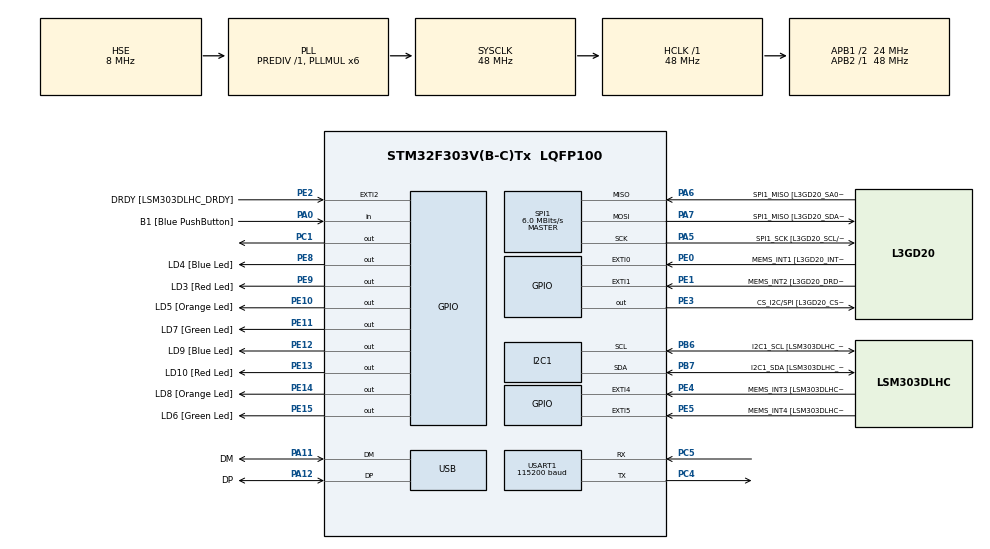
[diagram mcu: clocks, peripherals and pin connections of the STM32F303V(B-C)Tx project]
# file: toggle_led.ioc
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I2C1.Timing=0x00201D2B
I2C1.Timing-I2C=0x2000090E
Mcu.Family=STM32F3
Mcu.Name=STM32F303V(B-C)Tx
Mcu.Package=LQFP100
NVIC.PriorityGroup=NVIC_PRIORITYGROUP_0
NVIC.TIM2_IRQn=true\:0\:0\:false\:false\:true\:true\:true\:true
NVIC.USB_LP_CAN_RX0_IRQn=true\:0\:0\:false\:false\:true\:false\:true\:true
PA0.GPIO_Label=B1 [Blue PushButton]
PA0.Signal=GPIO_Input
PA11.GPIO_Label=DM
PA11.Mode=Device
PA11.Signal=USB_DM
PA12.GPIO_Label=DP
PA12.Mode=Device
PA12.Signal=USB_DP
PA13.GPIO_Label=SWDIO
PA13.Mode=Serial_Wire
PA13.Signal=SYS_JTMS-SWDIO
PA14.GPIO_Label=SWCLK
PA14.Mode=Serial_Wire
PA14.Signal=SYS_JTCK-SWCLK
PA5.GPIO_Label=SPI1_SCK [L3GD20_SCL/SPC]
PA5.Mode=Full_Duplex_Master
PA5.Signal=SPI1_SCK
PA6.GPIO_Label=SPI1_MISO [L3GD20_SA0/SDO]
PA6.Mode=Full_Duplex_Master
PA6.Signal=SPI1_MISO
PA7.GPIO_Label=SPI1_MISO [L3GD20_SDA/SDI/SDO]
PA7.Mode=Full_Duplex_Master
PA7.Signal=SPI1_MOSI
PB3.GPIO_Label=SWO
PB3.Signal=SYS_JTDO-TRACESWO
PB6.GPIO_Label=I2C1_SCL [LSM303DLHC_SCL]
PB6.GPIO_Pu=GPIO_PULLUP
PB6.Mode=I2C
PB6.Signal=I2C1_SCL
PB7.GPIO_Label=I2C1_SDA [LSM303DLHC_SDA]
PB7.GPIO_Pu=GPIO_PULLUP
PB7.Mode=I2C
PB7.Signal=I2C1_SDA
PC1.Signal=GPIO_Output
PC14-OSC32_IN.GPIO_Label=OSC32_IN
PC14-OSC32_IN.Signal=RCC_OSC32_IN
PC15-OSC32_OUT.GPIO_Label=OSC32_OUT
PC15-OSC32_OUT.Signal=RCC_OSC32_OUT
PC4.Mode=Asynchronous
PC4.Signal=USART1_TX
PC5.Mode=Asynchronous
PC5.Signal=USART1_RX
PE0.GPIO_Label=MEMS_INT1 [L3GD20_INT1]
PE0.GPIO_ModeDefaultEXTI=GPIO_MODE_EVT_RISING
PE0.Signal=GPXTI0
PE1.GPIO_Label=MEMS_INT2 [L3GD20_DRDY/INT2]
PE1.GPIO_ModeDefaultEXTI=GPIO_MODE_EVT_RISING
PE1.Signal=GPXTI1
PE10.GPIO_Label=LD5 [Orange Led]
PE10.Signal=GPIO_Output
PE11.GPIO_Label=LD7 [Green Led]
PE11.Signal=GPIO_Output
PE12.GPIO_Label=LD9 [Blue Led]
PE12.Signal=GPIO_Output
PE13.GPIO_Label=LD10 [Red Led]
PE13.Signal=GPIO_Output
PE14.GPIO_Label=LD8 [Orange Led]
PE14.Signal=GPIO_Output
PE15.GPIO_Label=LD6 [Green Led]
PE15.Signal=GPIO_Output
PE2.GPIO_Label=DRDY [LSM303DLHC_DRDY]
PE2.GPIO_ModeDefaultEXTI=GPIO_MODE_EVT_RISING
PE2.Signal=GPXTI2
PE3.GPIO_Label=CS_I2C/SPI [L3GD20_CS_I2C/SPI]
PE3.Signal=GPIO_Output
PE4.GPIO_Label=MEMS_INT3 [LSM303DLHC_INT1]
PE4.GPIO_ModeDefaultEXTI=GPIO_MODE_EVT_RISING
PE4.Signal=GPXTI4
PE5.GPIO_Label=MEMS_INT4 [LSM303DLHC_INT2]
PE5.GPIO_ModeDefaultEXTI=GPIO_MODE_EVT_RISING
PE5.Signal=GPXTI5
PE8.GPIO_Label=LD4 [Blue Led]
PE8.Signal=GPIO_Output
PE9.GPIO_Label=LD3 [Red Led]
PE9.Signal=GPIO_Output
PF0-OSC_IN.GPIO_Label=OSC_IN
PF0-OSC_IN.Mode=HSE-External-Clock-Source
PF0-OSC_IN.Signal=RCC_OSC_IN
PF1-OSC_OUT.GPIO_Label=OSC_OUT
PF1-OSC_OUT.Signal=RCC_OSC_OUT
ProjectManager.HeapSize=0x200
ProjectManager.StackSize=0x400
ProjectManager.TargetToolchain=CMake
RCC.AHBFreq_Value=48000000
RCC.APB1CLKDivider=RCC_HCLK_DIV2
RCC.APB1Freq_Value=24000000
RCC.APB1TimFreq_Value=48000000
RCC.APB2Freq_Value=48000000
RCC.APB2TimFreq_Value=48000000
RCC.CortexFreq_Value=48000000
RCC.HCLKFreq_Value=48000000
RCC.HSE_VALUE=8000000
RCC.HSI_VALUE=8000000
RCC.LSE_VALUE=32768
RCC.PLLMUL=RCC_PLL_MUL6
RCC.SYSCLKFreq_VALUE=48000000
RCC.SYSCLKSourceVirtual=RCC_SYSCLKSOURCE_PLLCLK
RCC.USBFreq_Value=48000000
SPI1.BaudRatePrescaler=SPI_BAUDRATEPRESCALER_8
SPI1.BaudRatePrescaler-Full_Duplex_Master=SPI_BAUDRATEPRESCALER_2
SPI1.CLKPhase=SPI_PHASE_2EDGE
SPI1.CLKPolarity=SPI_POLARITY_HIGH
SPI1.CalculateBaudRate=6.0 MBits/s
SPI1.CalculateBaudRate-Full_Duplex_Master=24.0 MBits/s
SPI1.Direction=SPI_DIRECTION_2LINES
SPI1.Mode=SPI_MODE_MASTER
SPI1.Mode-Full_Duplex_Master=SPI_MODE_MASTER
SPI1.VirtualType=VM_MASTER
TIM2.AutoReloadPreload=TIM_AUTORELOAD_PRELOAD_ENABLE
TIM2.Period=99
TIM2.Prescaler=72
USART1.BaudRate=115200
USART1.VirtualMode-Asynchronous=VM_ASYNC
USB_DEVICE.CLASS_NAME_FS=CDC
USB_DEVICE.VirtualMode=Cdc
USB_DEVICE.VirtualModeFS=Cdc_FS
VP_TIM2_VS_ClockSourceINT.Mode=Internal
VP_USB_DEVICE_VS_USB_DEVICE_CDC_FS.Mode=CDC_FS
board=STM32F3DISCOVERY

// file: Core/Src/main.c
/* USER CODE BEGIN Header */
/**
  ******************************************************************************
  * @file           : main.c
  * @brief          : Main program body
  ******************************************************************************
  * @attention
  *
  * Copyright (c) 2025 STMicroelectronics.
  * All rights reserved.
  *
  * This software is licensed under terms that can be found in the LICENSE file
  * in the root directory of this software component.
  * If no LICENSE file comes with this software, it is provided AS-IS.
  *
  ******************************************************************************
  */
/* USER CODE END Header */
#include "main.h"
#include <stdio.h>
#include <math.h>
#include <usb_device.h>
#ifndef M_PI
#define M_PI 3.14159265358979323846f
#endif

volatile float shared_angle = 0;
volatile uint8_t display_flag = 0;
volatile float shared_accAngleY = 0;
volatile float shared_gyroY = 0;

#define LSM303AGR_ACC_ADDR (0x19 << 1)
#define CTRL_REG1_A 0x20
#define CTRL_REG4_A 0x23
#define OUT_X_L_A 0x28

#define WHO_AM_I_G 0x0F
#define CTRL_REG1_G 0x20
#define CTRL_REG4_G 0x23
#define OUT_Y_L_G 0x2A
#define OUT_Y_H_G 0x2B

// ===== SPI CS Control =====
#define CS_LOW() HAL_GPIO_WritePin(GPIOE, GPIO_PIN_3, GPIO_PIN_RESET)
#define CS_HIGH() HAL_GPIO_WritePin(GPIOE, GPIO_PIN_3, GPIO_PIN_SET)

typedef struct
{
    int16_t raw_ax, raw_ay, raw_az;
    float ax, ay, az;
    float ax_offset, ay_offset, az_offset;
    int16_t raw_gx, raw_gy, raw_gz;
    float gx, gy, gz;
    float gy_offset;
} SensorData;

SensorData c;

/* USER CODE END PTD */
/* USER CODE BEGIN PD */
void Init_LSM(void);
void Init_Gyro(void);
void Read_Accel(SensorData *s, float apply_offset);
void Read_Gyro(SensorData *s);
void Calibrate_Gyro(SensorData *s);
void Offset_LSM(SensorData *data);
/* USER CODE END 0 */
float accAngleY = 0, gyroAngleX = 0, angleX = 0;
float dt = 0.1f;

/* USER CODE END PD */

I2C_HandleTypeDef hi2c1;
SPI_HandleTypeDef hspi1;
TIM_HandleTypeDef htim2;
UART_HandleTypeDef huart1;

/* USER CODE BEGIN PV */
int _write(int file, char *ptr, int len)
{
  HAL_UART_Transmit(&huart1, (uint8_t *)ptr, len, HAL_MAX_DELAY);
  return len;
}
/* USER CODE END PV */

void SystemClock_Config(void);
static void MX_GPIO_Init(void);
static void MX_I2C1_Init(void);
static void MX_SPI1_Init(void);
static void MX_TIM2_Init(void);
static void MX_USART1_UART_Init(void);

/* USER CODE BEGIN 0 */
// volatile uint8_t display_flag = 0;
volatile int ax_int, ay_int, az_int;

/* USER CODE END 0 */

extern float asinf(float);
extern double fabs(double);

int main(void)
{

  HAL_Init();

  SystemClock_Config();

  MX_GPIO_Init();
  MX_I2C1_Init();
  MX_SPI1_Init();
  MX_TIM2_Init();
  MX_USART1_UART_Init();
  MX_USB_DEVICE_Init();

  /* USER CODE BEGIN 2 */
  Init_LSM();
  Init_Gyro();
  Offset_LSM(&c);
  Calibrate_Gyro(&c);
  /* USER CODE END 2 */
  HAL_TIM_Base_Start_IT(&htim2);
  /* USER CODE BEGIN WHILE */
  while (1)
  {
    if(display_flag)
    {
        display_flag = 0;

        printf("%.2f\t %.2f\t %.2f\r\n",
               shared_accAngleY,
               shared_gyroY,
               shared_angle);
    }
}

}

void HAL_TIM_PeriodElapsedCallback(TIM_HandleTypeDef *htim)
{
    if(htim->Instance == TIM2)
    {
        static float tilt_angle = 0;
        static int counter = 0;
        Read_Accel(&c, 1);
        Read_Gyro(&c);
        float y_norm = c.ay / 9.81f;
        if (y_norm > 1.0f)  y_norm = 1.0f;
        if (y_norm < -1.0f) y_norm = -1.0f;
        float acc_y = asinf(y_norm) * (180.0f / M_PI);
        tilt_angle = 0.98f * (tilt_angle + c.gy * dt) + 0.02f * acc_y;
        shared_angle = tilt_angle;
        shared_accAngleY = acc_y;
        shared_gyroY     = c.gy;
        counter++;
        if(counter >= 9)
        {
            display_flag = 1;
            counter = 0;
        }
    }
}

void Init_LSM(void)
{
  uint8_t data[2];

  // Enable all axes, 100 Hz, normal mode
  data[0] = CTRL_REG1_A;
  data[1] = 0x67;
  HAL_I2C_Mem_Write(&hi2c1, 0x32, 0x20,I2C_MEMADD_SIZE_8BIT, &data[1], 1, HAL_MAX_DELAY);

  // ±2g, continuous update
  data[0] = CTRL_REG4_A;
  data[1] = 0x00;
  HAL_I2C_Mem_Write(&hi2c1, 0x32, 0x23,I2C_MEMADD_SIZE_8BIT, &data[1], 1, HAL_MAX_DELAY);

  HAL_Delay(50);

  // Verify configuration
  uint8_t whoami = 0, ctrl1 = 0;
  HAL_I2C_Mem_Read(&hi2c1, LSM303AGR_ACC_ADDR, 0x0F, I2C_MEMADD_SIZE_8BIT, &whoami, 1, HAL_MAX_DELAY);
  HAL_I2C_Mem_Read(&hi2c1, LSM303AGR_ACC_ADDR, CTRL_REG1_A, I2C_MEMADD_SIZE_8BIT, &ctrl1, 1, HAL_MAX_DELAY);
  printf("WHO_AM_I = 0x%02X, CTRL_REG1_A = 0x%02X\r\n", whoami, ctrl1);

  printf("LSM303AGR Initialized\r\n");
}

void spi_write(uint8_t reg, uint8_t value)
{
    uint8_t data[2] = {reg & 0x7F, value};  // Write: MSB = 0
    CS_LOW();
    HAL_SPI_Transmit(&hspi1, data, 2, HAL_MAX_DELAY);
    CS_HIGH();
}

uint8_t spi_read(uint8_t reg)
{
    uint8_t tx[2];
    uint8_t rx[2];
    tx[0] = reg | 0x80; // Read: MSB = 1
    tx[1] = 0x00;

    CS_LOW();
    HAL_SPI_TransmitReceive(&hspi1, tx, rx, 2, HAL_MAX_DELAY);
    CS_HIGH();

    return rx[1];
}
void spi_read_axis(uint8_t reg_low, int16_t *value)
{
    uint8_t low = spi_read(reg_low);
    uint8_t high = spi_read(reg_low + 1);
    *value = (int16_t)(high << 8 | low);
}

void Init_Gyro(void)
{
    HAL_Delay(100);

    uint8_t whoami = spi_read(WHO_AM_I_G);

    if (whoami != 0xD3) // Expected value for I3G4250D
    {
        printf("Gyro WHO_AM_I error: 0x%02X (expected 0xD3)\r\n", whoami);
    }
    else
    {
        printf("Gyro WHO_AM_I: 0x%02X - OK\r\n", whoami);
    }

    // CTRL_REG1: Power on, enable X/Y/Z, ODR = 100Hz, BW = 25Hz
    // 0x0F = 0000 1111 (DR=00, BW=00, PD=1, Zen=1, Yen=1, Xen=1)
    spi_write(CTRL_REG1_G, 0x0F);

    // CTRL_REG4: ±245 dps full-scale, continuous update
    // 0x00 = 0000 0000 (BDU=0, BLE=0, FS=00, -)
    spi_write(CTRL_REG4_G, 0x00);

    HAL_Delay(50);
    printf("I3G4250D Gyroscope Initialized\r\n");
}

void Read_Gyro(SensorData *s)
{
    int16_t gy_raw;
    uint8_t yl = spi_read(OUT_Y_L_G);
    uint8_t yh = spi_read(OUT_Y_H_G);

    gy_raw = (int16_t)(yh << 8 | yl);
    s->raw_gy = gy_raw;
    s->gy = (gy_raw * 8.75f / 1000.0f) - s->gy_offset;

    // Dead-zone: ignore very small gyro values
    if (fabs(s->gy) < 0.1f)  // 0.1 deg/s threshold
        s->gy = 0.0f;
}

void Calibrate_Gyro(SensorData *s)
{
    float sum_gy = 0;
    uint16_t samples = 500;  // Increase samples

    printf("Calibrating gyroscope in 2 seconds...\r\n");
    // HAL_Delay(2000);  // Give time to place device flat
    printf("Calibrating... Keep sensor STILL!\r\n");

    for (uint16_t i = 0; i < samples; i++)
    {
        int16_t gy_raw;
        uint8_t yl = spi_read(OUT_Y_L_G);
        uint8_t yh = spi_read(OUT_Y_H_G);

        gy_raw = (int16_t)(yh << 8 | yl);
        sum_gy += gy_raw * 8.75f / 1000.0f;

        // HAL_Delay(10);
    }

    s->gy_offset = sum_gy / samples;

    printf("Gyro Y Offset: %.3f deg/s\r\n", s->gy_offset);
}

void Read_Accel(SensorData *data, float apply_offset)
{
  uint8_t raw[6];
  HAL_I2C_Mem_Read(&hi2c1, 0x32, OUT_X_L_A | 0x80, I2C_MEMADD_SIZE_8BIT, raw, 6, HAL_MAX_DELAY);

  data->raw_ay = (int16_t)((raw[3] << 8) | raw[2]);

  data->raw_ay = (data->raw_ay) >> 6 ;

  float ay_scaled = data->raw_ay * 0.004f * 9.81f;

  if (apply_offset)
  {
    data->ay = ay_scaled - data->ay_offset;
  }
  else
  {
    data->ay = ay_scaled;
  }
}

void Offset_LSM(SensorData *data)
{
  float sum_y = 0;
  uint8_t i;

  printf("Calibrating offsets... Keep sensor still.\r\n");

  for (i = 0; i < 20; i++)
  {
    Read_Accel(data, 0);
    sum_y += data->ay;
    // HAL_Delay(100);
  }

  data->ay_offset = sum_y / 20.0f;

  printf("Offsets -> X: %.2f, Y: %.2f, Z: %.2f\r\n", data->ax_offset, data->ay_offset, data->az_offset);
}

void SystemClock_Config(void)
{
  RCC_OscInitTypeDef RCC_OscInitStruct = {0};
  RCC_ClkInitTypeDef RCC_ClkInitStruct = {0};
  RCC_PeriphCLKInitTypeDef PeriphClkInit = {0};

  RCC_OscInitStruct.OscillatorType = RCC_OSCILLATORTYPE_HSI|RCC_OSCILLATORTYPE_HSE;
  RCC_OscInitStruct.HSEState = RCC_HSE_BYPASS;
  RCC_OscInitStruct.HSEPredivValue = RCC_HSE_PREDIV_DIV1;
  RCC_OscInitStruct.HSIState = RCC_HSI_ON;
  RCC_OscInitStruct.HSICalibrationValue = RCC_HSICALIBRATION_DEFAULT;
  RCC_OscInitStruct.PLL.PLLState = RCC_PLL_ON;
  RCC_OscInitStruct.PLL.PLLSource = RCC_PLLSOURCE_HSE;
  RCC_OscInitStruct.PLL.PLLMUL = RCC_PLL_MUL6;
  if (HAL_RCC_OscConfig(&RCC_OscInitStruct) != HAL_OK)
  {
    Error_Handler();
  }

  RCC_ClkInitStruct.ClockType = RCC_CLOCKTYPE_HCLK|RCC_CLOCKTYPE_SYSCLK
                              |RCC_CLOCKTYPE_PCLK1|RCC_CLOCKTYPE_PCLK2;
  RCC_ClkInitStruct.SYSCLKSource = RCC_SYSCLKSOURCE_PLLCLK;
  RCC_ClkInitStruct.AHBCLKDivider = RCC_SYSCLK_DIV1;
  RCC_ClkInitStruct.APB1CLKDivider = RCC_HCLK_DIV2;
  RCC_ClkInitStruct.APB2CLKDivider = RCC_HCLK_DIV1;

  if (HAL_RCC_ClockConfig(&RCC_ClkInitStruct, FLASH_LATENCY_1) != HAL_OK)
  {
    Error_Handler();
  }
  PeriphClkInit.PeriphClockSelection = RCC_PERIPHCLK_USB|RCC_PERIPHCLK_USART1
                              |RCC_PERIPHCLK_I2C1;
  PeriphClkInit.Usart1ClockSelection = RCC_USART1CLKSOURCE_PCLK2;
  PeriphClkInit.I2c1ClockSelection = RCC_I2C1CLKSOURCE_HSI;
  PeriphClkInit.USBClockSelection = RCC_USBCLKSOURCE_PLL;
  if (HAL_RCCEx_PeriphCLKConfig(&PeriphClkInit) != HAL_OK)
  {
    Error_Handler();
  }
}

static void MX_I2C1_Init(void)
{

  hi2c1.Instance = I2C1;
  hi2c1.Init.Timing = 0x00201D2B;
  hi2c1.Init.OwnAddress1 = 0;
  hi2c1.Init.AddressingMode = I2C_ADDRESSINGMODE_7BIT;
  hi2c1.Init.DualAddressMode = I2C_DUALADDRESS_DISABLE;
  hi2c1.Init.OwnAddress2 = 0;
  hi2c1.Init.OwnAddress2Masks = I2C_OA2_NOMASK;
  hi2c1.Init.GeneralCallMode = I2C_GENERALCALL_DISABLE;
  hi2c1.Init.NoStretchMode = I2C_NOSTRETCH_DISABLE;
  if (HAL_I2C_Init(&hi2c1) != HAL_OK)
  {
    Error_Handler();
  }

  if (HAL_I2CEx_ConfigAnalogFilter(&hi2c1, I2C_ANALOGFILTER_ENABLE) != HAL_OK)
  {
    Error_Handler();
  }

  if (HAL_I2CEx_ConfigDigitalFilter(&hi2c1, 0) != HAL_OK)
  {
    Error_Handler();
  }
}

static void MX_SPI1_Init(void)
{

  hspi1.Instance = SPI1;
  hspi1.Init.Mode = SPI_MODE_MASTER;
  hspi1.Init.Direction = SPI_DIRECTION_2LINES;
  hspi1.Init.DataSize = SPI_DATASIZE_8BIT;
  hspi1.Init.CLKPolarity = SPI_POLARITY_HIGH;
  hspi1.Init.CLKPhase = SPI_PHASE_2EDGE;
  hspi1.Init.NSS = SPI_NSS_SOFT;
  hspi1.Init.BaudRatePrescaler = SPI_BAUDRATEPRESCALER_4;
  hspi1.Init.FirstBit = SPI_FIRSTBIT_MSB;
  hspi1.Init.TIMode = SPI_TIMODE_DISABLE;
  hspi1.Init.CRCCalculation = SPI_CRCCALCULATION_DISABLE;
  hspi1.Init.CRCPolynomial = 7;
  hspi1.Init.CRCLength = SPI_CRC_LENGTH_DATASIZE;
  hspi1.Init.NSSPMode = SPI_NSS_PULSE_DISABLE;
  if (HAL_SPI_Init(&hspi1) != HAL_OK)
  {
    Error_Handler();
  }
}

static void MX_TIM2_Init(void)
{

  TIM_ClockConfigTypeDef sClockSourceConfig = {0};
  TIM_MasterConfigTypeDef sMasterConfig = {0};

  htim2.Instance = TIM2;
  htim2.Init.Prescaler = 5999;
  htim2.Init.CounterMode = TIM_COUNTERMODE_UP;
  htim2.Init.Period = 79;
  htim2.Init.ClockDivision = TIM_CLOCKDIVISION_DIV1;
  htim2.Init.AutoReloadPreload = TIM_AUTORELOAD_PRELOAD_ENABLE;
  if (HAL_TIM_Base_Init(&htim2) != HAL_OK)
  {
    Error_Handler();
  }
  sClockSourceConfig.ClockSource = TIM_CLOCKSOURCE_INTERNAL;
  if (HAL_TIM_ConfigClockSource(&htim2, &sClockSourceConfig) != HAL_OK)
  {
    Error_Handler();
  }
  sMasterConfig.MasterOutputTrigger = TIM_TRGO_RESET;
  sMasterConfig.MasterSlaveMode = TIM_MASTERSLAVEMODE_DISABLE;
  if (HAL_TIMEx_MasterConfigSynchronization(&htim2, &sMasterConfig) != HAL_OK)
  {
    Error_Handler();
  }
}

static void MX_USART1_UART_Init(void)
{

  huart1.Instance = USART1;
  huart1.Init.BaudRate = 115200;
  huart1.Init.WordLength = UART_WORDLENGTH_8B;
  huart1.Init.StopBits = UART_STOPBITS_1;
  huart1.Init.Parity = UART_PARITY_NONE;
  huart1.Init.Mode = UART_MODE_TX_RX;
  huart1.Init.HwFlowCtl = UART_HWCONTROL_NONE;
  huart1.Init.OverSampling = UART_OVERSAMPLING_16;
  huart1.Init.OneBitSampling = UART_ONE_BIT_SAMPLE_DISABLE;
  huart1.AdvancedInit.AdvFeatureInit = UART_ADVFEATURE_NO_INIT;
  if (HAL_UART_Init(&huart1) != HAL_OK)
  {
    Error_Handler();
  }
}

static void MX_GPIO_Init(void)
{
  GPIO_InitTypeDef GPIO_InitStruct = {0};

  __HAL_RCC_GPIOE_CLK_ENABLE();
  __HAL_RCC_GPIOC_CLK_ENABLE();
  __HAL_RCC_GPIOF_CLK_ENABLE();
  __HAL_RCC_GPIOA_CLK_ENABLE();
  __HAL_RCC_GPIOB_CLK_ENABLE();

  HAL_GPIO_WritePin(GPIOE, CS_I2C_SPI_Pin|LD4_Pin|LD3_Pin|LD5_Pin
                          |LD7_Pin|LD9_Pin|LD10_Pin|LD8_Pin
                          |LD6_Pin, GPIO_PIN_RESET);

  HAL_GPIO_WritePin(GPIOC, GPIO_PIN_1, GPIO_PIN_RESET);

  GPIO_InitStruct.Pin = DRDY_Pin|MEMS_INT3_Pin|MEMS_INT4_Pin|MEMS_INT1_Pin
                          |MEMS_INT2_Pin;
  GPIO_InitStruct.Mode = GPIO_MODE_EVT_RISING;
  GPIO_InitStruct.Pull = GPIO_NOPULL;
  HAL_GPIO_Init(GPIOE, &GPIO_InitStruct);

  GPIO_InitStruct.Pin = CS_I2C_SPI_Pin|LD4_Pin|LD3_Pin|LD5_Pin
                          |LD7_Pin|LD9_Pin|LD10_Pin|LD8_Pin
                          |LD6_Pin;
  GPIO_InitStruct.Mode = GPIO_MODE_OUTPUT_PP;
  GPIO_InitStruct.Pull = GPIO_NOPULL;
  GPIO_InitStruct.Speed = GPIO_SPEED_FREQ_LOW;
  HAL_GPIO_Init(GPIOE, &GPIO_InitStruct);

  GPIO_InitStruct.Pin = GPIO_PIN_1;
  GPIO_InitStruct.Mode = GPIO_MODE_OUTPUT_PP;
  GPIO_InitStruct.Pull = GPIO_NOPULL;
  GPIO_InitStruct.Speed = GPIO_SPEED_FREQ_LOW;
  HAL_GPIO_Init(GPIOC, &GPIO_InitStruct);

  GPIO_InitStruct.Pin = B1_Pin;
  GPIO_InitStruct.Mode = GPIO_MODE_INPUT;
  GPIO_InitStruct.Pull = GPIO_NOPULL;
  HAL_GPIO_Init(B1_GPIO_Port, &GPIO_InitStruct);

}

void Error_Handler(void)
{
  __disable_irq();
  while (1)
  {
  }
}
